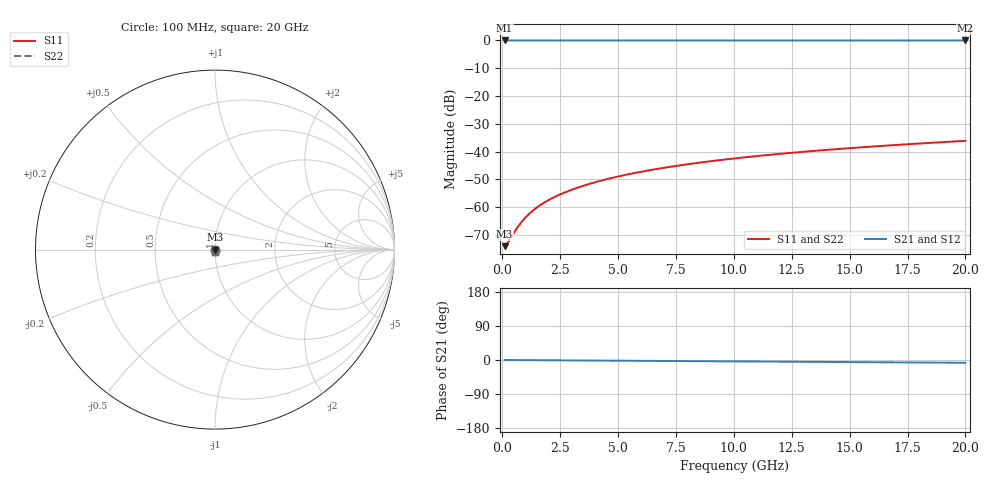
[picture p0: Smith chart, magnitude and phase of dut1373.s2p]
! Touchstone file exported from HFSS 2026.1.0
!  File:  C:/ffzhzh/LocalFiles/Ansys_Project_Files/temp_train_TSV_1373_1783196281_55132.aedt
!  Generated:  04:19:30 AM Jul  5, 2026
!  Design:  TSV
!  Project:  temp_train_TSV_1373_1783196281_55132
! Variables:
!  h_bsmrdl = 2um
!  h_ox = 20um
!  h_rdl = 5um
!  h_sub = 76.57um
!  h_tmrdl = 5um
!  h_tsv = 76.57um
!  h_via = 3um
!  l_bsmrdl = 300um
!  l_sub = 415.14um
!  l_tmrdl = 200um
!  m_sub = 200um
!  pitch = 27.24um
!  r_tsv = 7.57um
!  s_tmrdl = 10um
!  w_bsmrdl = 18um
!  w_sub = 500um
!  w_tmrdl = 12um
!  x_tsv_center1 = 206um
!  x_tsv_center2 = 524um
!  x_tsv_center3 = 736um
!  x_tsv_center4 = 1054um
!  x_tsv_center5 = 1266um
!  x_tsv_center6 = 1584um
# GHz S MA R 50.000000
! Terminal data exported
! Port[1] = TSV1_1_T1
! Port[2] = TSV1_1_T2
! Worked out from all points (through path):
!   200 points, 100 MHz to 20 GHz, reference 50 ohm
!   highest |S21| = 0.00 dB at 100 MHz (marker M1); lowest = 0.0 dB at 20 GHz (marker M2)
!   group delay of S21, straight-line fit = 1.02 ps
!   lowest |S11| = -74.0 dB at 100 MHz (marker M3), VSWR 1.00, Z = 50 - j0.00265 ohm
!   |S11| at or under -10 dB: start of sweep to end of sweep
!   |S22| runs from -74.0 to -36.1 dB; largest |S21 - S12| = 4.1e-15
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0.1  0.0001986 -7.7  0.9998 -0.0  0.9998 -0.0  0.0001986 -7.7
! Gamma 0 0 0 0
! Port Impedance 50 0 50 0
0.2  0.0002192 -15.0  0.9998 -0.1  0.9998 -0.1  0.0002192 -15.0
0.3  0.0002517 -21.8  0.9998 -0.1  0.9998 -0.1  0.0002517 -21.8
0.6  0.0003993 -38.1  0.9997 -0.2  0.9997 -0.2  0.0003993 -38.1
0.8  0.0005211 -46.0  0.9996 -0.3  0.9996 -0.3  0.0005211 -46.0
0.9  0.0005856 -49.2  0.9996 -0.3  0.9996 -0.3  0.0005856 -49.2
1.1  0.0007183 -54.5  0.9996 -0.4  0.9996 -0.4  0.0007183 -54.5
1.4  0.000923 -60.2  0.9995 -0.5  0.9995 -0.5  0.000923 -60.2
1.8  0.001201 -65.4  0.9995 -0.7  0.9995 -0.7  0.001201 -65.4
2.3  0.001555 -69.6  0.9994 -0.9  0.9994 -0.9  0.001555 -69.6
2.9  0.001987 -72.9  0.9994 -1.1  0.9994 -1.1  0.001987 -72.9
3.5  0.002428 -75.1  0.9993 -1.3  0.9993 -1.3  0.002428 -75.1
4.2  0.002952 -77.0  0.9993 -1.6  0.9993 -1.6  0.002952 -77.0
5  0.003562 -78.6  0.9992 -1.9  0.9992 -1.9  0.003562 -78.6
5.9  0.00426 -80.1  0.9991 -2.2  0.9991 -2.2  0.00426 -80.1
6.8  0.004966 -81.4  0.999 -2.5  0.999 -2.5  0.004966 -81.4
8.3  0.006154 -83.1  0.9989 -3.1  0.9989 -3.1  0.006154 -83.1
10.1  0.007592 -84.9  0.9988 -3.7  0.9988 -3.7  0.007592 -84.9
11.7  0.008876 -86.2  0.9987 -4.3  0.9987 -4.3  0.008876 -86.2
13.4  0.01025 -87.4  0.9986 -4.9  0.9986 -4.9  0.01025 -87.4
16.7  0.01292 -89.5  0.9984 -6.1  0.9984 -6.1  0.01292 -89.5
20  0.01561 -91.3  0.9982 -7.3  0.9982 -7.3  0.01561 -91.2
